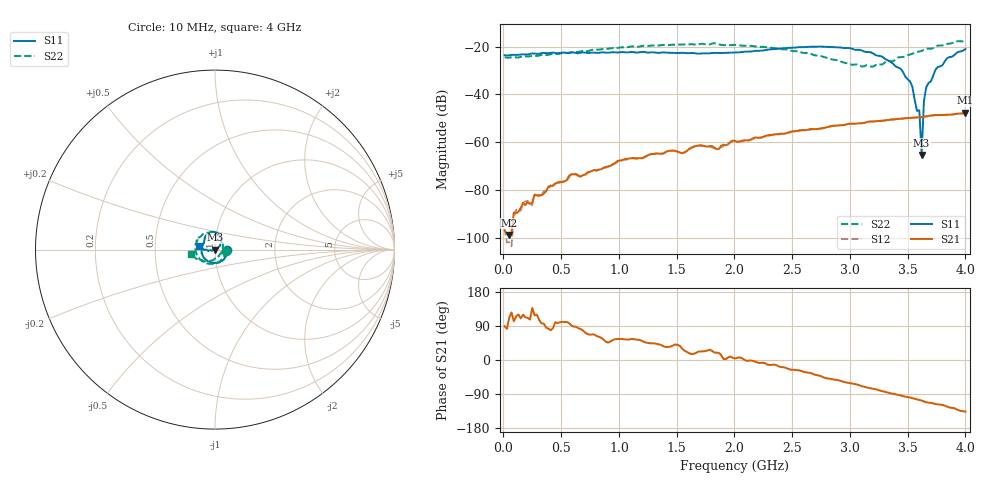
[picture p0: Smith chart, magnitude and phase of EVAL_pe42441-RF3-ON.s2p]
! 9/28/2016 2:32:49 PM
! C:\USERS\ANRITSUUSER\DESKTOP\SWITCHES\EVAL_PE42441-RF3-ON.S2P
! CHANNEL.1
! TR.MEASUREMENT
! CORRECTED.DATA
# GHZ S RI R 50.0
! FREQ.GHZ  S11RE  S11IM  S21RE  S21IM  S12RE  S12IM  S22RE  S22IM
!; PortSelection: Port_12
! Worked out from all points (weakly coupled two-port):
!   201 points, 10 MHz to 4 GHz, reference 50 ohm
!   highest |S21| = -47.66 dB at 4 GHz (marker M1); lowest = -98.9 dB at 49.9 MHz (marker M2)
!   lowest |S11| = -65.4 dB at 3.621 GHz (marker M3), VSWR 1.00, Z = 50 - j0.0264 ohm
!   |S11| at or under -10 dB: start of sweep to end of sweep
!   |S22| runs from -28.3 to -17.4 dB; largest |S21 - S12| = 7e-05
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0.01  0.0665 -0.00297  2e-07 1.4e-05  4.9e-06 1.46e-05  0.0604 -0.00541
0.0499  0.0658 -0.00669  -4.2e-06 1.05e-05  -7.9e-06 1.5e-06  0.0585 -0.00866
0.3691  0.0478 -0.0558  7.2e-06 9.27e-05  2.2e-06 9.45e-05  0.037 -0.056
0.6085  0.00923 -0.0751  7.2e-06 0.000211  1.09e-05 0.000221  0.000705 -0.0779
0.6883  -0.00719 -0.0759  4.25e-05 0.000198  3.9e-05 0.000193  -0.0142 -0.0805
0.98755  -0.0561 -0.0507  0.000228 0.000332  0.000224 0.000314  -0.066 -0.0671
1.34665  -0.0744 -0.000694  0.000432 0.000379  0.000425 0.000381  -0.1047 -0.0157
1.70575  -0.0638 0.0331  0.000794 0.00033  0.000767 0.000319  -0.1036 0.0492
1.86535  -0.0618 0.0403  0.000678 0.000233  0.000713 0.000205  -0.0899 0.0672
2.005  -0.0606 0.0458  0.00105 7.33e-05  0.00103 0.000135  -0.0684 0.0855
2.6833  -0.0288 0.0958  0.0015 -0.00114  0.00152 -0.00109  0.033 0.059
3.10225  0.0263 0.0797  0.000883 -0.00231  0.000938 -0.00232  0.0363 -0.0122
3.34165  0.0332 0.0376  0.000151 -0.00293  0.000201 -0.00296  0.00947 -0.0496
3.4414  0.0271 0.0208  -0.000212 -0.00308  -0.000196 -0.0031  -0.0101 -0.0598
3.54115  0.0122 0.00744  -0.000596 -0.0032  -0.000574 -0.0032  -0.0333 -0.0631
3.58105  0.00435 -0.00124  -0.000784 -0.00318  -0.000768 -0.00321  -0.0415 -0.0662
3.601  0.00401 -0.00235  -0.00087 -0.00318  -0.000865 -0.00321  -0.0452 -0.0654
3.62095  0.000469 -0.000264  -0.000983 -0.00319  -0.000986 -0.00318  -0.0504 -0.0641
3.6409  -0.00719 -8.98e-05  -0.00112 -0.00321  -0.0011 -0.00318  -0.057 -0.0648
3.66085  -0.0136 -0.00399  -0.00127 -0.00321  -0.00123 -0.00323  -0.061 -0.0668
3.7606  -0.0368 -0.00814  -0.00169 -0.00329  -0.00164 -0.0033  -0.086 -0.0616
4  -0.0872 0.0199  -0.00299 -0.00286  -0.00301 -0.00285  -0.1331 -0.0254
